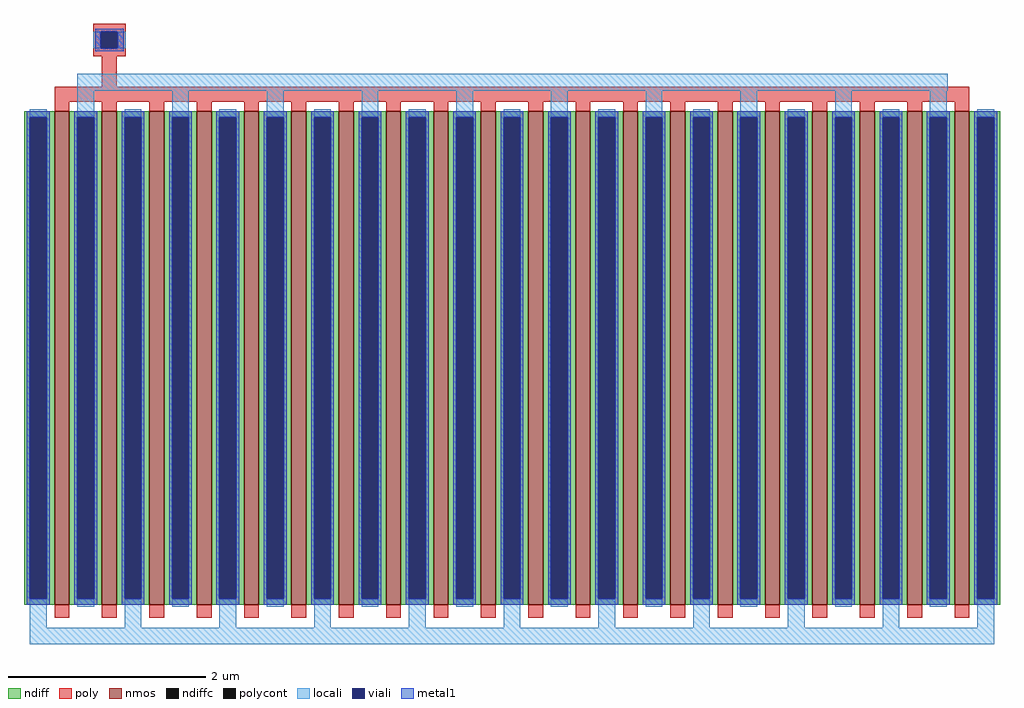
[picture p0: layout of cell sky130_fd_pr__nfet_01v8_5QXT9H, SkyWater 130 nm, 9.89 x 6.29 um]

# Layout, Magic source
magic
tech sky130A
magscale 1 2
<< nmos >>
rect -927 -500 -897 500
rect -831 -500 -801 500
rect -735 -500 -705 500
rect -639 -500 -609 500
rect -543 -500 -513 500
rect -447 -500 -417 500
rect -351 -500 -321 500
rect -255 -500 -225 500
rect -159 -500 -129 500
rect -63 -500 -33 500
rect 33 -500 63 500
rect 129 -500 159 500
rect 225 -500 255 500
rect 321 -500 351 500
rect 417 -500 447 500
rect 513 -500 543 500
rect 609 -500 639 500
rect 705 -500 735 500
rect 801 -500 831 500
rect 897 -500 927 500
<< ndiff >>
rect -989 488 -927 500
rect -989 -488 -977 488
rect -943 -488 -927 488
rect -989 -500 -927 -488
rect -897 488 -831 500
rect -897 -488 -881 488
rect -847 -488 -831 488
rect -897 -500 -831 -488
rect -801 488 -735 500
rect -801 -488 -785 488
rect -751 -488 -735 488
rect -801 -500 -735 -488
rect -705 488 -639 500
rect -705 -488 -689 488
rect -655 -488 -639 488
rect -705 -500 -639 -488
rect -609 488 -543 500
rect -609 -488 -593 488
rect -559 -488 -543 488
rect -609 -500 -543 -488
rect -513 488 -447 500
rect -513 -488 -497 488
rect -463 -488 -447 488
rect -513 -500 -447 -488
rect -417 488 -351 500
rect -417 -488 -401 488
rect -367 -488 -351 488
rect -417 -500 -351 -488
rect -321 488 -255 500
rect -321 -488 -305 488
rect -271 -488 -255 488
rect -321 -500 -255 -488
rect -225 488 -159 500
rect -225 -488 -209 488
rect -175 -488 -159 488
rect -225 -500 -159 -488
rect -129 488 -63 500
rect -129 -488 -113 488
rect -79 -488 -63 488
rect -129 -500 -63 -488
rect -33 488 33 500
rect -33 -488 -17 488
rect 17 -488 33 488
rect -33 -500 33 -488
rect 63 488 129 500
rect 63 -488 79 488
rect 113 -488 129 488
rect 63 -500 129 -488
rect 159 488 225 500
rect 159 -488 175 488
rect 209 -488 225 488
rect 159 -500 225 -488
rect 255 488 321 500
rect 255 -488 271 488
rect 305 -488 321 488
rect 255 -500 321 -488
rect 351 488 417 500
rect 351 -488 367 488
rect 401 -488 417 488
rect 351 -500 417 -488
rect 447 488 513 500
rect 447 -488 463 488
rect 497 -488 513 488
rect 447 -500 513 -488
rect 543 488 609 500
rect 543 -488 559 488
rect 593 -488 609 488
rect 543 -500 609 -488
rect 639 488 705 500
rect 639 -488 655 488
rect 689 -488 705 488
rect 639 -500 705 -488
rect 735 488 801 500
rect 735 -488 751 488
rect 785 -488 801 488
rect 735 -500 801 -488
rect 831 488 897 500
rect 831 -488 847 488
rect 881 -488 897 488
rect 831 -500 897 -488
rect 927 488 989 500
rect 927 -488 943 488
rect 977 -488 989 488
rect 927 -500 989 -488
<< ndiffc >>
rect -977 -488 -943 488
rect -881 -488 -847 488
rect -785 -488 -751 488
rect -689 -488 -655 488
rect -593 -488 -559 488
rect -497 -488 -463 488
rect -401 -488 -367 488
rect -305 -488 -271 488
rect -209 -488 -175 488
rect -113 -488 -79 488
rect -17 -488 17 488
rect 79 -488 113 488
rect 175 -488 209 488
rect 271 -488 305 488
rect 367 -488 401 488
rect 463 -488 497 488
rect 559 -488 593 488
rect 655 -488 689 488
rect 751 -488 785 488
rect 847 -488 881 488
rect 943 -488 977 488
<< poly >>
rect -849 662 -783 678
rect -849 628 -833 662
rect -799 628 -783 662
rect -849 612 -783 628
rect -831 550 -801 612
rect -927 520 927 550
rect -927 500 -897 520
rect -831 500 -801 520
rect -735 500 -705 520
rect -639 500 -609 520
rect -543 500 -513 520
rect -447 500 -417 520
rect -351 500 -321 520
rect -255 500 -225 520
rect -159 500 -129 520
rect -63 500 -33 520
rect 33 500 63 520
rect 129 500 159 520
rect 225 500 255 520
rect 321 500 351 520
rect 417 500 447 520
rect 513 500 543 520
rect 609 500 639 520
rect 705 500 735 520
rect 801 500 831 520
rect 897 500 927 520
rect -927 -526 -897 -500
rect -831 -526 -801 -500
rect -735 -526 -705 -500
rect -639 -526 -609 -500
rect -543 -526 -513 -500
rect -447 -526 -417 -500
rect -351 -526 -321 -500
rect -255 -526 -225 -500
rect -159 -526 -129 -500
rect -63 -526 -33 -500
rect 33 -526 63 -500
rect 129 -526 159 -500
rect 225 -526 255 -500
rect 321 -526 351 -500
rect 417 -526 447 -500
rect 513 -526 543 -500
rect 609 -526 639 -500
rect 705 -526 735 -500
rect 801 -526 831 -500
rect 897 -526 927 -500
<< polycont >>
rect -833 628 -799 662
<< locali >>
rect -849 628 -833 662
rect -799 628 -783 662
rect -881 542 883 576
rect -977 488 -943 504
rect -977 -546 -943 -488
rect -881 488 -847 542
rect -881 -504 -847 -488
rect -785 488 -751 504
rect -785 -546 -751 -488
rect -689 488 -655 542
rect -689 -504 -655 -488
rect -593 488 -559 504
rect -593 -546 -559 -488
rect -497 488 -463 542
rect -497 -504 -463 -488
rect -401 488 -367 504
rect -401 -546 -367 -488
rect -305 488 -271 542
rect -305 -504 -271 -488
rect -209 488 -175 504
rect -209 -546 -175 -488
rect -113 488 -79 542
rect -113 -504 -79 -488
rect -17 488 17 504
rect -17 -546 17 -488
rect 79 488 113 542
rect 79 -504 113 -488
rect 175 488 209 504
rect 175 -546 209 -488
rect 271 488 305 542
rect 271 -504 305 -488
rect 367 488 401 504
rect 367 -546 401 -488
rect 463 488 497 542
rect 463 -504 497 -488
rect 559 488 593 504
rect 559 -546 593 -488
rect 655 488 689 542
rect 655 -504 689 -488
rect 751 488 785 504
rect 751 -546 785 -488
rect 847 488 881 542
rect 847 -504 881 -488
rect 943 488 977 504
rect 943 -546 977 -488
rect -977 -580 977 -546
<< viali >>
rect -833 628 -799 662
rect -977 -488 -943 488
rect -881 -488 -847 488
rect -785 -488 -751 488
rect -689 -488 -655 488
rect -593 -488 -559 488
rect -497 -488 -463 488
rect -401 -488 -367 488
rect -305 -488 -271 488
rect -209 -488 -175 488
rect -113 -488 -79 488
rect -17 -488 17 488
rect 79 -488 113 488
rect 175 -488 209 488
rect 271 -488 305 488
rect 367 -488 401 488
rect 463 -488 497 488
rect 559 -488 593 488
rect 655 -488 689 488
rect 751 -488 785 488
rect 847 -488 881 488
rect 943 -488 977 488
<< metal1 >>
rect -845 662 -787 668
rect -845 628 -833 662
rect -799 628 -787 662
rect -845 622 -787 628
rect -983 488 -937 500
rect -983 -488 -977 488
rect -943 -488 -937 488
rect -983 -500 -937 -488
rect -887 488 -841 500
rect -887 -488 -881 488
rect -847 -488 -841 488
rect -887 -500 -841 -488
rect -791 488 -745 500
rect -791 -488 -785 488
rect -751 -488 -745 488
rect -791 -500 -745 -488
rect -695 488 -649 500
rect -695 -488 -689 488
rect -655 -488 -649 488
rect -695 -500 -649 -488
rect -599 488 -553 500
rect -599 -488 -593 488
rect -559 -488 -553 488
rect -599 -500 -553 -488
rect -503 488 -457 500
rect -503 -488 -497 488
rect -463 -488 -457 488
rect -503 -500 -457 -488
rect -407 488 -361 500
rect -407 -488 -401 488
rect -367 -488 -361 488
rect -407 -500 -361 -488
rect -311 488 -265 500
rect -311 -488 -305 488
rect -271 -488 -265 488
rect -311 -500 -265 -488
rect -215 488 -169 500
rect -215 -488 -209 488
rect -175 -488 -169 488
rect -215 -500 -169 -488
rect -119 488 -73 500
rect -119 -488 -113 488
rect -79 -488 -73 488
rect -119 -500 -73 -488
rect -23 488 23 500
rect -23 -488 -17 488
rect 17 -488 23 488
rect -23 -500 23 -488
rect 73 488 119 500
rect 73 -488 79 488
rect 113 -488 119 488
rect 73 -500 119 -488
rect 169 488 215 500
rect 169 -488 175 488
rect 209 -488 215 488
rect 169 -500 215 -488
rect 265 488 311 500
rect 265 -488 271 488
rect 305 -488 311 488
rect 265 -500 311 -488
rect 361 488 407 500
rect 361 -488 367 488
rect 401 -488 407 488
rect 361 -500 407 -488
rect 457 488 503 500
rect 457 -488 463 488
rect 497 -488 503 488
rect 457 -500 503 -488
rect 553 488 599 500
rect 553 -488 559 488
rect 593 -488 599 488
rect 553 -500 599 -488
rect 649 488 695 500
rect 649 -488 655 488
rect 689 -488 695 488
rect 649 -500 695 -488
rect 745 488 791 500
rect 745 -488 751 488
rect 785 -488 791 488
rect 745 -500 791 -488
rect 841 488 887 500
rect 841 -488 847 488
rect 881 -488 887 488
rect 841 -500 887 -488
rect 937 488 983 500
rect 937 -488 943 488
rect 977 -488 983 488
rect 937 -500 983 -488
<< properties >>
string gencell sky130_fd_pr__nfet_01v8
string parameters w 5 l 0.150 m 1 nf 20 diffcov 100 polycov 100 guard 0 glc 0 grc 0 gtc 0 gbc 0 tbcov 100 rlcov 100 topc 1 botc 0 poverlap 0 doverlap 1 lmin 0.15 wmin 0.42 compatible {sky130_fd_pr__nfet_01v8 sky130_fd_pr__nfet_01v8_lvt  sky130_fd_bs_flash__special_sonosfet_star  sky130_fd_pr__nfet_g5v0d10v5 sky130_fd_pr__nfet_05v0_nvt  sky130_fd_pr__nfet_03v3_nvt} full_metal 0 viasrc 100 viadrn 100 viagate 100 viagb 0 viagr 0 viagl 0 viagt 0
string library sky130
<< end >>
